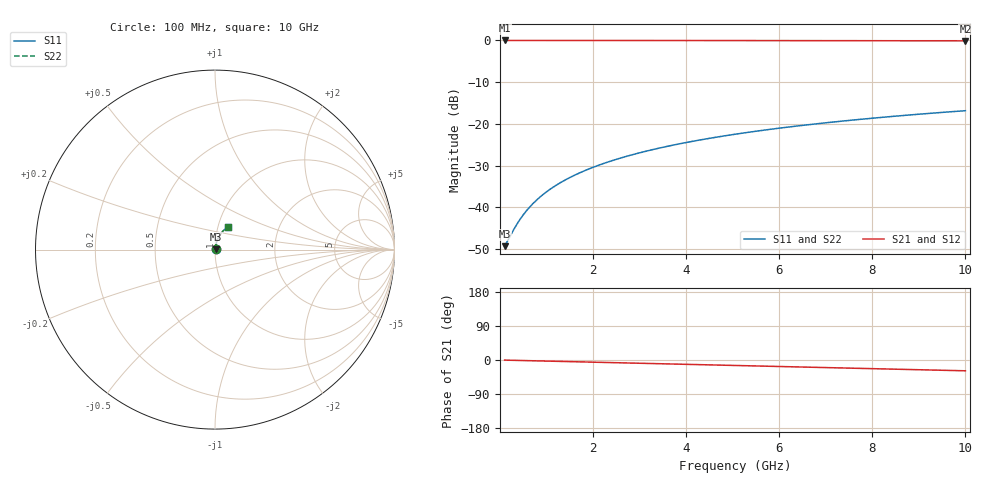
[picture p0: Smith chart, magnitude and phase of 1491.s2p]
# Hz S RI R 50.00
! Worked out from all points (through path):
!   100 points, 100 MHz to 10 GHz, reference 50 ohm
!   highest |S21| = -0.03 dB at 100 MHz (marker M1); lowest = -0.1 dB at 10 GHz (marker M2)
!   group delay of S21, straight-line fit = 7.92 ps
!   lowest |S11| = -49.3 dB at 100 MHz (marker M3), VSWR 1.01, Z = 50.3 + j0.15 ohm
!   |S11| at or under -10 dB: start of sweep to end of sweep
!   |S22| runs from -49.3 to -16.8 dB; largest |S21 - S12| = 1e-14
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1e8  0.0031 0.00149  0.9969 -0.00497  0.9969 -0.00497  0.0031 0.00149
3e8  0.0032 0.00447  0.9967 -0.0149  0.9967 -0.0149  0.0032 0.00447
4e8  0.00326 0.00596  0.9966 -0.0199  0.9966 -0.0199  0.00326 0.00596
5e8  0.00334 0.00745  0.9965 -0.0249  0.9965 -0.0249  0.00334 0.00745
6e8  0.00343 0.00894  0.9963 -0.0298  0.9963 -0.0298  0.00343 0.00894
7e8  0.00353 0.0104  0.9961 -0.0348  0.9961 -0.0348  0.00353 0.0104
8e8  0.00365 0.0119  0.9959 -0.0398  0.9959 -0.0398  0.00365 0.0119
1e9  0.00393 0.0149  0.9954 -0.0497  0.9954 -0.0497  0.00393 0.0149
1.2e9  0.00426 0.0178  0.9948 -0.0596  0.9948 -0.0596  0.00426 0.0178
1.5e9  0.00488 0.0223  0.9937 -0.0745  0.9937 -0.0745  0.00488 0.0223
1.8e9  0.00562 0.0267  0.9924 -0.0893  0.9924 -0.0893  0.00562 0.0267
2.1e9  0.0065 0.031  0.9908 -0.1041  0.9908 -0.1041  0.0065 0.031
2.5e9  0.00786 0.0368  0.9883 -0.1239  0.9883 -0.1239  0.00786 0.0368
2.9e9  0.00946 0.0426  0.9853 -0.1435  0.9853 -0.1435  0.00946 0.0426
3.4e9  0.0118 0.0496  0.9811 -0.168  0.9811 -0.168  0.0118 0.0496
4.2e9  0.0162 0.0607  0.9729 -0.2068  0.9729 -0.2068  0.0162 0.0607
5.1e9  0.0222 0.0726  0.9617 -0.25  0.9617 -0.25  0.0222 0.0726
5.9e9  0.0284 0.0827  0.9501 -0.2878  0.9501 -0.2878  0.0284 0.0827
6.7e9  0.0354 0.0923  0.9369 -0.325  0.9369 -0.325  0.0354 0.0923
7.5e9  0.0431 0.1013  0.9221 -0.3615  0.9221 -0.3615  0.0431 0.1013
8.4e9  0.0527 0.1106  0.9037 -0.4018  0.9037 -0.4018  0.0527 0.1106
1e10  0.0714 0.1249  0.8665 -0.4706  0.8665 -0.4706  0.0714 0.1249
